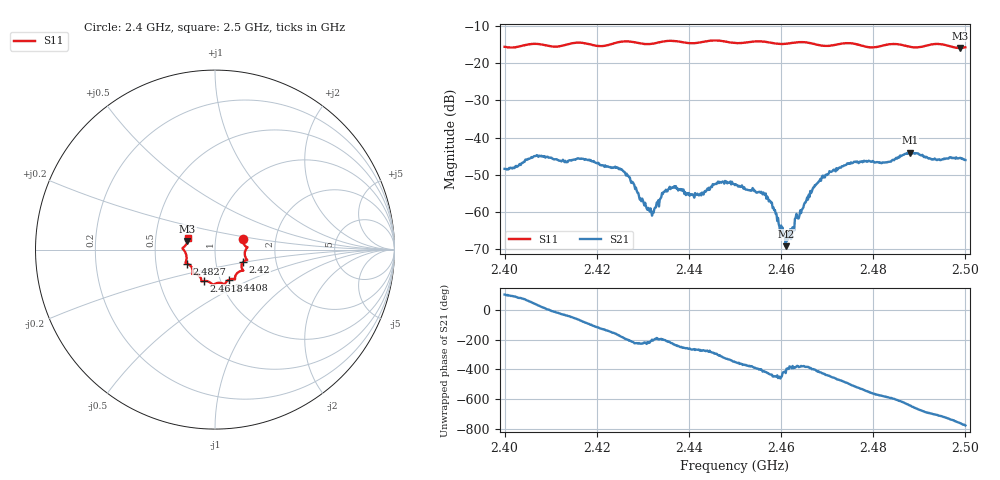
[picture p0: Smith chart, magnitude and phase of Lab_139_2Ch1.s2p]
# Hz S RI R 50
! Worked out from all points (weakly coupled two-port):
!   601 points, 2.4 GHz to 2.5 GHz, reference 50 ohm
!   highest |S21| = -44.07 dB at 2.488 GHz (marker M1); lowest = -69.2 dB at 2.461 GHz (marker M2)
!   lowest |S11| = -15.9 dB at 2.4988 GHz (marker M3), VSWR 1.38, Z = 36.6 + j3.42 ohm
!   |S11| at or under -10 dB: start of sweep to end of sweep
!   S12 and S22 are empty: the file has one direction only
!   S11 on the Smith chart (normalised r, x): 2.4 GHz: 1.35, +0.17; 2.42 GHz: 1.36, -0.19; 2.4408 GHz: 1.10, -0.38; 2.4618 GHz: 0.83, -0.30; 2.4827 GHz: 0.72, -0.12; 2.5 GHz: 0.73, +0.10
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2.4e9  0.1544 0.0612  -0.000872 0.00369  0 0  0 0
2.406667e9  0.1814 0.0126  0.00439 0.00353  0 0  0 0
2.416667e9  0.1789 -0.0586  0.00141 -0.00503  0 0  0 0
2.42e9  0.1565 -0.0691  -0.00194 -0.0041  0 0  0 0
2.425667e9  0.1573 -0.1162  -0.00357 0.000294  0 0  0 0
2.4315e9  0.1201 -0.1353  -0.000772 0.00065  0 0  0 0
2.433333e9  0.1116 -0.1528  -0.00138 0.000372  0 0  0 0
2.436333e9  0.1111 -0.166  -0.00152 0.00149  0 0  0 0
2.440833e9  0.0776 -0.1684  -0.00013 0.00171  0 0  0 0
2.446667e9  0.0507 -0.194  0.00144 0.00209  0 0  0 0
2.45e9  0.0267 -0.1848  0.00226 0.000342  0 0  0 0
2.456667e9  -0.016 -0.1927  0.000933 -0.0015  0 0  0 0
2.461e9  -0.0533 -0.1745  0.000143 -0.000315  0 0  0 0
2.461833e9  -0.0613 -0.1749  0.00042 -0.000153  0 0  0 0
2.466667e9  -0.0757 -0.1682  0.00143 -0.0012  0 0  0 0
2.469333e9  -0.0893 -0.1458  0.000976 -0.00291  0 0  0 0
2.474167e9  -0.1264 -0.1364  -0.00274 -0.00331  0 0  0 0
2.482667e9  -0.1578 -0.0777  -0.00339 0.00316  0 0  0 0
2.483333e9  -0.1617 -0.0768  -0.00307 0.00356  0 0  0 0
2.488e9  -0.1584 -0.0493  0.00155 0.00607  0 0  0 0
2.498833e9  -0.1533 0.0456  0.004 -0.00352  0 0  0 0
2.5e9  -0.1509 0.0632  0.00264 -0.00423  0 0  0 0
